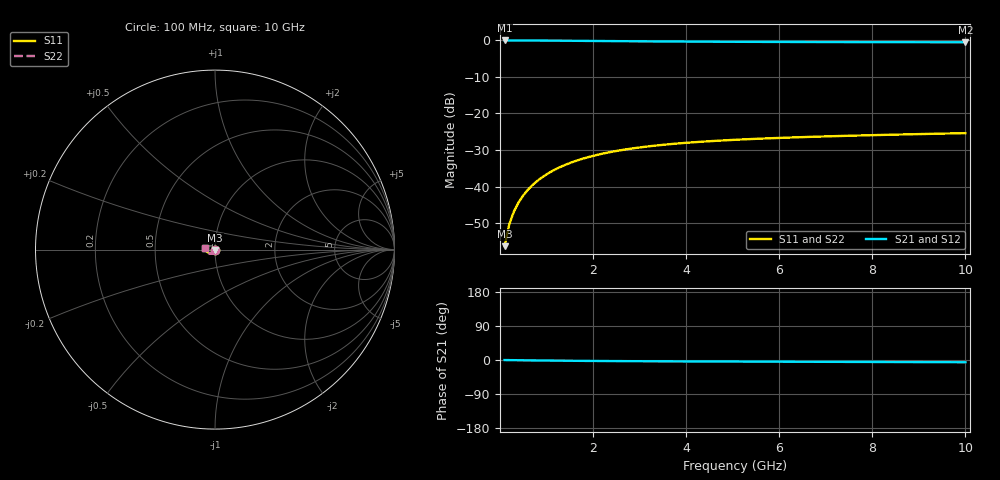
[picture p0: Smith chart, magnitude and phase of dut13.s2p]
! Touchstone file exported from HFSS 2024.1.0
!  File:  C:/UserFiles/LocalFiles/RDL_TSV_Batchsim/temp_TSV1_13_1779368449.aedt
!  Generated:  09:05:05 PM May 21, 2026
!  Design:  TSV1
!  Project:  temp_TSV1_13_1779368449
!  Setup:  Setup1
!  Solution:  Sweep
! Variables:
!  dtsv = 11.23um
!  hbump = 3um
!  htsv = 92.6um
!  lrdl = 252.1521522um
!  p = 40
!  p1 = 58.41um
!  t = 500um
!  trdl = 3um
!  wrdl = 24.89489489um
# GHz S MA R 50.000000
! Terminal data exported
! Port[1] = TSV22_T1
! Port[2] = TSV22_T2
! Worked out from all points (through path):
!   100 points, 100 MHz to 10 GHz, reference 50 ohm
!   highest |S21| = 0.00 dB at 100 MHz (marker M1); lowest = -0.5 dB at 10 GHz (marker M2)
!   lowest |S11| = -56.3 dB at 100 MHz (marker M3), VSWR 1.00, Z = 50 - j0.152 ohm
!   |S11| at or under -10 dB: start of sweep to end of sweep
!   |S22| runs from -56.3 to -25.4 dB; largest |S21 - S12| = 3.1e-15
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0.1  0.001524 -87.3  0.9998 -0.2  0.9998 -0.2  0.001524 -87.3
! Gamma 0 0 0 0
! Port Impedance 50 0 50 0
0.2  0.00304 -91.6  0.9996 -0.3  0.9996 -0.3  0.00304 -91.6
0.3  0.004554 -94.3  0.9994 -0.5  0.9994 -0.5  0.004554 -94.3
0.4  0.006059 -96.6  0.999 -0.6  0.999 -0.6  0.006059 -96.6
0.5  0.007551 -98.9  0.9985 -0.8  0.9985 -0.8  0.007552 -98.9
0.6  0.009026 -101.0  0.9979 -0.9  0.9979 -0.9  0.009026 -101.0
0.7  0.01048 -103.1  0.9973 -1.0  0.9973 -1.0  0.01048 -103.1
0.8  0.0119 -105.1  0.9965 -1.2  0.9965 -1.2  0.0119 -105.1
0.9  0.0133 -107.1  0.9957 -1.3  0.9957 -1.3  0.0133 -107.1
1.1  0.01599 -111.0  0.9939 -1.6  0.9939 -1.6  0.01599 -111.0
1.4  0.01976 -116.5  0.9909 -1.9  0.9909 -1.9  0.01976 -116.5
1.6  0.02208 -120.0  0.9887 -2.1  0.9887 -2.1  0.02208 -120.0
1.8  0.02425 -123.3  0.9865 -2.3  0.9865 -2.3  0.02425 -123.3
2.1  0.02721 -128.1  0.9831 -2.6  0.9831 -2.6  0.02721 -128.1
2.5  0.03066 -133.9  0.9787 -2.9  0.9787 -2.9  0.03066 -133.9
2.9  0.03359 -139.1  0.9745 -3.1  0.9745 -3.1  0.03359 -139.1
3.4  0.03666 -145.0  0.9699 -3.4  0.9699 -3.4  0.03666 -145.0
4.2  0.04051 -153.1  0.9637 -3.8  0.9637 -3.8  0.04051 -153.1
5.1  0.04376 -160.8  0.9583 -4.1  0.9583 -4.1  0.04376 -160.8
6.7  0.04791 -171.8  0.9516 -4.7  0.9516 -4.7  0.04791 -171.8
8.4  0.05118 178.8  0.9471 -5.3  0.9471 -5.3  0.05119 178.8
10  0.0538 171.4  0.9442 -6.0  0.9442 -6.0  0.0538 171.4
